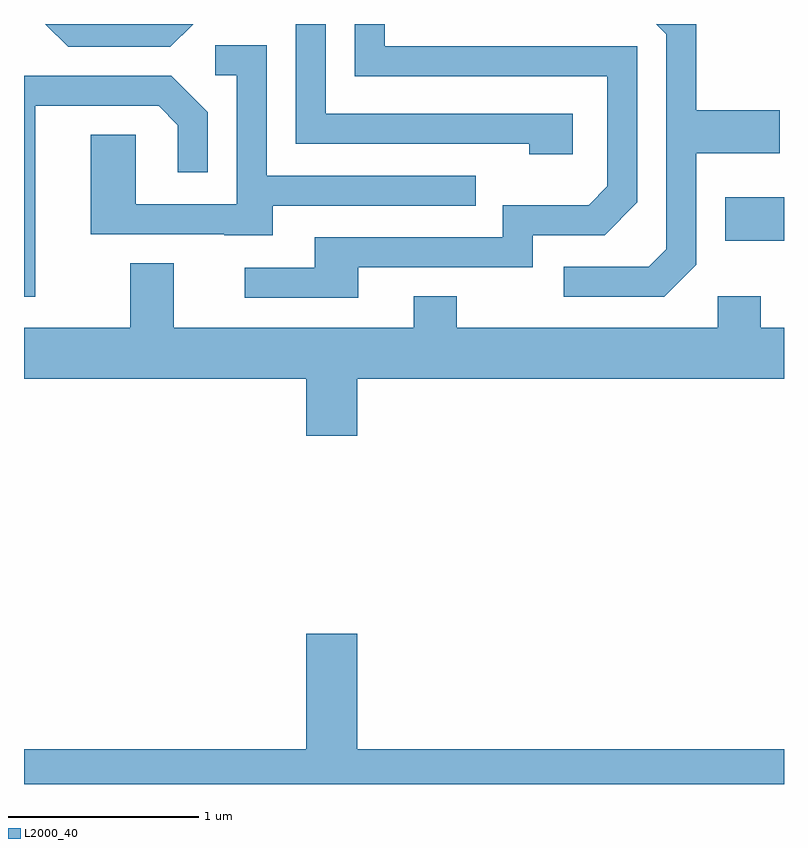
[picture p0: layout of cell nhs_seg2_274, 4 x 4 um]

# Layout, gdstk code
import gdstk
lib = gdstk.Library(unit=1e-6, precision=1e-09)
def R(c, l, rs):  # rectangles x0, y0, x1, y1
    for r in rs: c.add(gdstk.rectangle(r[:2], r[2:], *l))
def P(c, l, *ps):  # polygons
    for p in ps: c.add(gdstk.Polygon(p, *l))
L2000_40 = (2000, 40)

nhs_seg2_274 = lib.new_cell('nhs_seg2_274')
R(nhs_seg2_274, L2000_40, [(197.301,984.661,197.611,984.889)])
P(nhs_seg2_274, L2000_40, [(194.503,985.802),(193.723,985.802),(193.844,985.681),(194.382,985.681)],
  [(196.499,985.329),(195.199,985.329),(195.199,985.802),(195.041,985.802),(195.041,985.171),(196.271,985.171),(196.271,985.116),(196.499,985.116)],
  [(197.149,984.534),(197.149,985.121),(197.589,985.121),(197.589,985.349),(197.149,985.349),(197.149,985.802),(196.938,985.802),(196.991,985.749),(196.991,984.617),(196.899,984.524),(196.453,984.524),(196.453,984.366),(196.982,984.366)],
  [(195.369,984.521),(196.289,984.521),(196.289,984.691),(196.667,984.691),(196.839,984.864),(196.839,985.684),(195.509,985.684),(195.509,985.802),(195.351,985.802),(195.351,985.526),(196.681,985.526),(196.681,984.947),(196.584,984.849),(196.131,984.849),(196.131,984.679),(195.141,984.679),(195.141,984.519),(194.773,984.519),(194.773,984.361),(195.369,984.361)],
  [(194.919,984.846),(195.988,984.846),(195.988,985.004),(194.889,985.004),(194.889,985.689),(194.618,985.689),(194.618,985.531),(194.731,985.531),(194.731,984.854),(194.199,984.854),(194.199,985.219),(193.961,985.219),(193.961,984.696),(194.665,984.696),(194.665,984.691),(194.919,984.691)],
  [(193.669,985.371),(194.319,985.371),(194.421,985.269),(194.421,985.023),(194.579,985.023),(194.579,985.337),(194.387,985.529),(193.611,985.529),(193.611,984.366),(193.669,984.366)],
  [(195.364,983.936),(197.611,983.936),(197.611,984.204),(197.489,984.204),(197.489,984.369),(197.261,984.369),(197.261,984.204),(195.889,984.204),(195.889,984.369),(195.661,984.369),(195.661,984.204),(194.399,984.204),(194.399,984.544),(194.171,984.544),(194.171,984.204),(193.611,984.204),(193.611,983.936),(195.096,983.936),(195.096,983.636),(195.364,983.636)],
  [(197.611,981.984),(195.364,981.984),(195.364,982.594),(195.096,982.594),(195.096,981.984),(193.611,981.984),(193.611,981.802),(197.611,981.802)])

lib.write_gds('nhs_seg2_274.gds')
